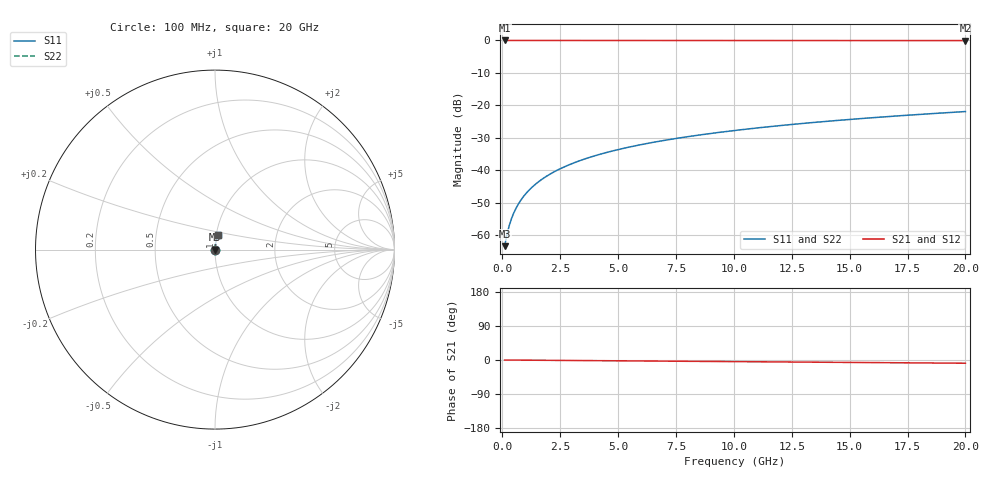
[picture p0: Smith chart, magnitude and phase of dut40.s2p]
! Touchstone file exported from HFSS 2026.1.0
!  File:  C:/ffzhzh/LocalFiles/Ansys_Project_Files/temp_train_TSV_40_1782958582_6388.aedt
!  Generated:  10:18:11 AM Jul  2, 2026
!  Design:  TSV
!  Project:  temp_train_TSV_40_1782958582_6388
! Variables:
!  h_bsmrdl = 2um
!  h_ox = 20um
!  h_rdl = 5um
!  h_sub = 68.4um
!  h_tmrdl = 5um
!  h_tsv = 68.4um
!  h_via = 3um
!  l_bsmrdl = 300um
!  l_sub = 408.04um
!  l_tmrdl = 200um
!  m_sub = 200um
!  pitch = 41.33um
!  r_tsv = 4.02um
!  s_tmrdl = 10um
!  w_bsmrdl = 18um
!  w_sub = 500um
!  w_tmrdl = 12um
!  x_tsv_center1 = 206um
!  x_tsv_center2 = 524um
!  x_tsv_center3 = 736um
!  x_tsv_center4 = 1054um
!  x_tsv_center5 = 1266um
!  x_tsv_center6 = 1584um
# GHz S MA R 50.000000
! Terminal data exported
! Port[1] = TSV1_1_T1
! Port[2] = TSV1_1_T2
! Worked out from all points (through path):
!   200 points, 100 MHz to 20 GHz, reference 50 ohm
!   highest |S21| = 0.00 dB at 100 MHz (marker M1); lowest = 0.0 dB at 20 GHz (marker M2)
!   group delay of S21, straight-line fit = 1.18 ps
!   lowest |S11| = -63.4 dB at 100 MHz (marker M3), VSWR 1.00, Z = 50.1 + j0.0437 ohm
!   |S11| at or under -10 dB: start of sweep to end of sweep
!   |S22| runs from -63.4 to -21.9 dB; largest |S21 - S12| = 3.1e-15
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0.1  0.0006759 40.3  0.9995 -0.0  0.9995 -0.0  0.0006759 40.3
! Gamma 0 0 0 0
! Port Impedance 50 0 50 0
0.2  0.001016 58.8  0.9995 -0.1  0.9995 -0.1  0.001016 58.8
0.3  0.001405 67.4  0.9995 -0.1  0.9995 -0.1  0.001405 67.4
0.4  0.001807 72.2  0.9995 -0.2  0.9995 -0.2  0.001807 72.2
0.5  0.002215 75.2  0.9994 -0.2  0.9994 -0.2  0.002215 75.2
0.6  0.002626 77.3  0.9994 -0.3  0.9994 -0.3  0.002626 77.3
0.8  0.003453 80.0  0.9994 -0.4  0.9994 -0.4  0.003453 80.0
1.1  0.004702 82.2  0.9994 -0.5  0.9994 -0.5  0.004702 82.2
1.5  0.006371 83.6  0.9993 -0.7  0.9993 -0.7  0.006371 83.6
1.8  0.007624 84.2  0.9993 -0.8  0.9993 -0.8  0.007624 84.2
2.1  0.008874 84.6  0.9993 -0.9  0.9993 -0.9  0.008874 84.6
2.7  0.01137 85.0  0.9992 -1.2  0.9992 -1.2  0.01137 85.0
3.5  0.01467 85.1  0.999 -1.5  0.999 -1.5  0.01467 85.1
4.2  0.01754 85.0  0.9989 -1.8  0.9989 -1.8  0.01754 85.0
5  0.02079 84.9  0.9987 -2.2  0.9987 -2.2  0.02079 84.9
5.9  0.02443 84.7  0.9985 -2.6  0.9985 -2.6  0.02443 84.7
6.8  0.02805 84.4  0.9983 -2.9  0.9983 -2.9  0.02805 84.4
8.3  0.03406 84.0  0.998 -3.6  0.998 -3.6  0.03406 84.0
10.1  0.04122 83.4  0.9975 -4.3  0.9975 -4.3  0.04122 83.4
13.4  0.0543 82.3  0.9967 -5.7  0.9967 -5.7  0.0543 82.3
16.7  0.06729 81.1  0.9957 -7.1  0.9957 -7.1  0.06729 81.1
20  0.08019 79.9  0.9945 -8.5  0.9945 -8.5  0.08019 79.9
